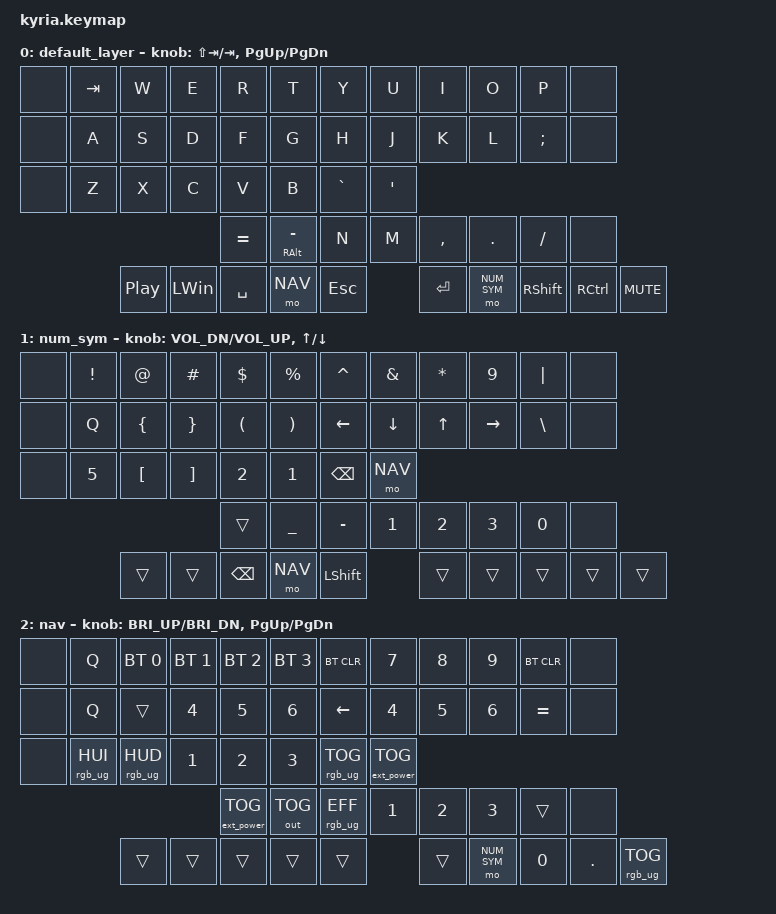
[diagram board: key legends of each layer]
/*
 * Copyright (c) 2020 The ZMK Contributors
 *
 * SPDX-License-Identifier: MIT
 */

#include <behaviors.dtsi>
#include <dt-bindings/zmk/keys.h>
#include <dt-bindings/zmk/bt.h>
#include <dt-bindings/zmk/outputs.h>
#include <dt-bindings/zmk/rgb.h>
#include <dt-bindings/zmk/ext_power.h>

#define DEFAULT 0
#define NUM_SYM 1
#define NAV     2

/ {
    behaviors {
        hm: homerow_mods {
            compatible = "zmk,behavior-hold-tap";
            label = "homerow mods";
            #binding-cells = <2>;
            tapping-term-ms = <250>;
            flavor = "balanced";
            bindings = <&kp>, <&kp>;
        };

        encmod: encoder_mods {
            compatible = "zmk,behavior-sensor-rotate-key-press";
            label = "encoder mods";
            #sensor-binding-cells = <2>;
            modifier-key = <LWIN>;
            mod-timeout-ms = <500>;
        };
    };
};

/ {
	combos {
		compatible = "zmk,combos";
		combo_q {
			timeout-ms = <50>;
			key-positions = <1 2>;  // Q W
			bindings = <&kp Q>;
        };
	};
};

/ {
	keymap {
		compatible = "zmk,keymap";

		default_layer {
			bindings = <
    &none &kp TAB         &kp W         &kp E       &kp R         &kp T            &kp Y  &kp U        &kp I         &kp O         &kp P             &none
    &none &kp A           &kp S         &kp D       &kp F         &kp G            &kp H  &kp J        &kp K         &kp L         &kp SEMI          &none
    &none &kp Z           &kp X         &kp C       &kp V         &kp B            &kp GRAVE  &kp SQT
                                                    &kp EQUAL     &hm RALT MINUS   &kp N  &kp M        &kp COMMA     &kp DOT       &kp FSLH          &none
	                      &kp C_PP   &kp LWIN   &kp SPACE         &mo NAV          &kp ESC       &kp RET    &mo NUM_SYM   &kp RSHIFT &kp RCTRL  &kp C_MUTE
			>;

			sensor-bindings = <&encmod LS(TAB) TAB &inc_dec_kp PG_UP PG_DN>;
		};

		num_sym {
			bindings = <
    &none &kp EXCL      &kp AT        &kp HASH        &kp DOLLAR    &kp PRCNT        &kp CARET  &kp AMPS     &kp ASTRK     &kp N9          &kp PIPE   &none
    &none &kp Q         &kp LBRC      &kp RBRC        &kp LPAR      &kp RPAR         &kp LEFT   &kp DOWN     &kp UP        &kp RIGHT       &kp BSLH   &none
    &none &kp N5        &kp LBKT      &kp RBKT        &kp N2        &kp N1           &kp BSPC   &mo NAV
                                                      &trans        &kp UNDERSCORE   &kp MINUS  &kp N1       &kp N2        &kp N3          &kp N0     &none
	                      &trans     &trans         &kp BSPC        &mo NAV &kp LSHIFT       &trans      &trans      &trans    &trans     &trans    
			>;

			sensor-bindings = <&inc_dec_kp C_VOL_DN C_VOL_UP &inc_dec_kp UP DOWN>;
		};

		nav {
			bindings = <
    &none &kp Q           &bt BT_SEL 0 &bt BT_SEL 1 &bt BT_SEL 2 &bt BT_SEL 3            &bt BT_CLR   &kp N7       &kp N8        &kp N9      &bt BT_CLR &none
    &none &kp Q           &trans          &kp N4          &kp N5        &kp N6           &kp LEFT     &kp N4       &kp N5        &kp N6      &kp EQUAL  &none
    &none &rgb_ug RGB_HUI &rgb_ug RGB_HUD &kp N1          &kp N2        &kp N3           &rgb_ug RGB_TOG &ext_power EP_TOG
                                                      &ext_power EP_TOG &out OUT_TOG      &rgb_ug RGB_EFF &kp N1       &kp N2        &kp N3      &trans &none
	                      &trans     &trans         &trans    &trans    &trans           &trans      &mo NUM_SYM   &kp N0    &kp DOT    &rgb_ug RGB_TOG
			>;

			sensor-bindings = <&inc_dec_kp C_BRI_UP C_BRI_DN &inc_dec_kp PG_UP PG_DN>;
		};

	};
};

#if 0
/ {
	keymap {
		compatible = "zmk,keymap";

		default_layer {
			bindings = <
    &none &kp TAB         &kp W         &kp E       &kp R         &kp T            &kp Y  &kp U        &kp I         &kp O         &kp P             &none
    &none &hm LWIN A      &hm LALT S    &hm LCTRL D &hm LSHIFT F  &kp G            &kp H  &hm RSHIFT J &hm RCTRL K   &hm LALT L    &hm RWIN SEMI     &none
    &none &kp Z           &lt NAV X     &kp C       &kp V         &kp B            &kp GRAVE  &kp SQT
                                                    &kp EQUAL     &hm RALT MINUS   &kp N  &kp M        &kp COMMA     &kp DOT       &kp FSLH          &none
	                      &kp C_PP   &kp LSHIFT     &hm LWIN SPACE  &kp BSPC  &kp ESC          &lt NAV RET &mo NUM_SYM &kp RCTRL &kp RSHIFT &kp C_MUTE
			>;

			sensor-bindings = <&inc_dec_kp UP DOWN &inc_dec_kp C_VOL_DN C_VOL_UP>;
		};

		num_sym {
			bindings = <
    &none &kp EXCL      &kp AT        &kp HASH        &kp DOLLAR    &kp PRCNT        &kp CARET  &kp AMPS     &kp ASTRK     &trans          &trans     &none
    &none &kp Q         &kp LBRC      &kp RBRC        &kp LPAR      &kp RPAR         &kp H      &kp J        &kp K         &kp L           &trans     &none
    &none &kp N5        &kp LBKT      &kp RBKT        &kp N2        &kp N1           &kp BSPC   &mo NAV
                                                      &mo NUM_SYM   &kp SQT          &kp MINUS  &kp N7       &kp N8        &kp N9          &kp N0     &none
	                      &trans     &trans         &trans          &trans &trans           &trans      &trans      &trans    &trans     &trans    
			>;

			sensor-bindings = <&encmod LS(TAB) TAB &inc_dec_kp PG_UP PG_DN>;
		};

		nav {
			bindings = <
    &none &kp Q           &trans          &kp N7          &kp N8        &kp N9           &bt BT_SEL 0 &bt BT_SEL 1 &bt BT_SEL 2 &bt BT_SEL 3 &bt BT_CLR     &none
    &none &rgb_ug RGB_HUI &rgb_ug RGB_HUD &kp N4          &kp N5        &kp N6           &kp LEFT     &kp DOWN     &kp UP        &kp RIGHT       &trans     &none
    &none &kp N0          &kp N0          &kp N1          &kp N2        &kp N3           &kp DOT      &kp RET
                                                      &out OUT_USB  &out OUT_BLE      &rgb_ug RGB_EFF &kp N7       &kp N8        &bootloader     &reset     &none
	                      &trans     &trans         &trans          &trans &trans           &trans      &trans      &trans    &trans     &rgb_ug RGB_TOG
			>;

			sensor-bindings = <&inc_dec_kp C_BRI_UP C_BRI_DN &inc_dec_kp PG_UP PG_DN>;
		};
	};
};
#endif
